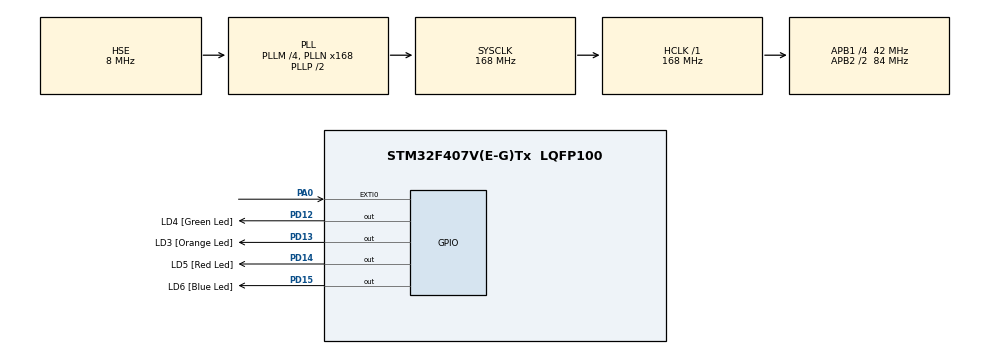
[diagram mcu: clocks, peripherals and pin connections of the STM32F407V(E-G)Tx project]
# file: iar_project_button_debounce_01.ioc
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Mcu.Family=STM32F4
Mcu.Name=STM32F407V(E-G)Tx
Mcu.Package=LQFP100
NVIC.EXTI0_IRQn=true\:0\:0\:false\:false\:true\:true\:true
NVIC.PriorityGroup=NVIC_PRIORITYGROUP_0
NVIC.RCC_IRQn=true\:0\:0\:false\:false\:true\:true\:false
NVIC.TIM2_IRQn=true\:0\:0\:false\:false\:true\:true\:true
PA0-WKUP.GPIO_ModeDefaultEXTI=GPIO_MODE_IT_RISING_FALLING
PA0-WKUP.GPIO_PuPd=GPIO_NOPULL
PA0-WKUP.Signal=GPXTI0
PA13.GPIO_Label=SWDIO
PA13.Mode=Serial_Wire
PA13.Signal=SYS_JTMS-SWDIO
PA14.GPIO_Label=SWCLK
PA14.Mode=Serial_Wire
PA14.Signal=SYS_JTCK-SWCLK
PC14-OSC32_IN.GPIO_Label=PC14-OSC32_IN
PC14-OSC32_IN.Mode=LSE-External-Oscillator
PC14-OSC32_IN.Signal=RCC_OSC32_IN
PC15-OSC32_OUT.GPIO_Label=PC15-OSC32_OUT
PC15-OSC32_OUT.Mode=LSE-External-Oscillator
PC15-OSC32_OUT.Signal=RCC_OSC32_OUT
PD12.GPIO_Label=LD4 [Green Led]
PD12.GPIO_PuPd=GPIO_NOPULL
PD12.GPIO_Speed=GPIO_SPEED_FREQ_LOW
PD12.Signal=GPIO_Output
PD13.GPIO_Label=LD3 [Orange Led]
PD13.GPIO_PuPd=GPIO_NOPULL
PD13.GPIO_Speed=GPIO_SPEED_FREQ_LOW
PD13.Signal=GPIO_Output
PD14.GPIO_Label=LD5 [Red Led]
PD14.GPIO_PuPd=GPIO_NOPULL
PD14.GPIO_Speed=GPIO_SPEED_FREQ_LOW
PD14.Signal=GPIO_Output
PD15.GPIO_Label=LD6 [Blue Led]
PD15.GPIO_PuPd=GPIO_NOPULL
PD15.GPIO_Speed=GPIO_SPEED_FREQ_LOW
PD15.Signal=GPIO_Output
PH0-OSC_IN.Mode=HSE-External-Oscillator
PH0-OSC_IN.Signal=RCC_OSC_IN
PH1-OSC_OUT.Mode=HSE-External-Oscillator
PH1-OSC_OUT.Signal=RCC_OSC_OUT
ProjectManager.HeapSize=0x200
ProjectManager.StackSize=0x400
ProjectManager.TargetToolchain=EWARM V8.32
RCC.48MHZClocksFreq_Value=48000000
RCC.AHBFreq_Value=168000000
RCC.APB1CLKDivider=RCC_HCLK_DIV4
RCC.APB1Freq_Value=42000000
RCC.APB1TimFreq_Value=84000000
RCC.APB2CLKDivider=RCC_HCLK_DIV2
RCC.APB2Freq_Value=84000000
RCC.APB2TimFreq_Value=168000000
RCC.CortexFreq_Value=168000000
RCC.HCLKFreq_Value=168000000
RCC.HSE_VALUE=8000000
RCC.HSI_VALUE=16000000
RCC.PLLM=4
RCC.PLLN=168
RCC.PLLQ=7
RCC.PLLSourceVirtual=RCC_PLLSOURCE_HSE
RCC.SYSCLKFreq_VALUE=168000000
RCC.SYSCLKSource=RCC_SYSCLKSOURCE_PLLCLK
RCC.VCOOutputFreq_Value=336000000
TIM2.AutoReloadPreload=TIM_AUTORELOAD_PRELOAD_ENABLE
TIM2.Period=16800
TIM2.Prescaler=10
VP_TIM2_VS_ClockSourceINT.Mode=Internal
board=STM32F407G-DISC1

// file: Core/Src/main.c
/* USER CODE BEGIN Header */
/**
  ******************************************************************************
  * @file           : main.c
  * @brief          : Main program body
  ******************************************************************************
  * @attention
  *
  * <h2><center>&copy; Copyright (c) 2023 STMicroelectronics.
  * All rights reserved.</center></h2>
  *
  * This software component is licensed by ST under Ultimate Liberty license
  * SLA0044, the "License"; You may not use this file except in compliance with
  * the License. You may obtain a copy of the License at:
  *                             www.st.com/SLA0044
  *
  ******************************************************************************
  */
/* USER CODE END Header */
#include "main.h"
#include "tim.h"
#include "gpio.h"

/* USER CODE BEGIN Includes */
#include "usr_general.h"
uint8_t buttonPressedOkFlag = 0;
uint8_t pressedOccuredFlag = 0;
uint8_t buttonPressedTimeCount = 0;

uint8_t count1 = 0;
uint8_t count2 = 0;

/* USER CODE END Includes */

void SystemClock_Config(void);

int main(void)
{

  /* MCU Configuration--------------------------------------------------------*/

  /* Reset of all peripherals, Initializes the Flash interface and the Systick. */
  HAL_Init();

  /* Configure the system clock */
  SystemClock_Config();

  /* Initialize all configured peripherals */
  MX_GPIO_Init();
  MX_TIM2_Init();
  /* USER CODE BEGIN 2 */
  HAL_TIM_Base_Start_IT(&htim2);

  /* USER CODE END 2 */

  /* Infinite loop */
  while (1)
  {

    /* USER CODE BEGIN 3 */
    if(buttonPressedOkFlag == 1)
    {
      count1 += 1;
      if(count1 > 2)
      {
        count1 = 1;
      }
      buttonPressedOkFlag = 0;
    }

    if(count1 == 0)
    {
      HAL_GPIO_WritePin(GPIOD, GPIO_PIN_12 | GPIO_PIN_13 | GPIO_PIN_14 | GPIO_PIN_15, GPIO_PIN_SET);
    }

    if(count1 % 2)
    {
      HAL_GPIO_WritePin(GPIOD, GPIO_PIN_13 | GPIO_PIN_15, GPIO_PIN_SET);
      HAL_GPIO_WritePin(GPIOD, GPIO_PIN_12 | GPIO_PIN_14, GPIO_PIN_RESET);
    }

    else
    {
      HAL_GPIO_WritePin(GPIOD, GPIO_PIN_12 | GPIO_PIN_14, GPIO_PIN_SET);
      HAL_GPIO_WritePin(GPIOD, GPIO_PIN_13 | GPIO_PIN_15, GPIO_PIN_RESET);
    }

  }
  /* USER CODE END 3 */
}

void SystemClock_Config(void)
{
  RCC_OscInitTypeDef RCC_OscInitStruct = {0};
  RCC_ClkInitTypeDef RCC_ClkInitStruct = {0};

  /** Configure the main internal regulator output voltage
  */
  __HAL_RCC_PWR_CLK_ENABLE();
  __HAL_PWR_VOLTAGESCALING_CONFIG(PWR_REGULATOR_VOLTAGE_SCALE1);
  /** Initializes the RCC Oscillators according to the specified parameters
  * in the RCC_OscInitTypeDef structure.
  */
  RCC_OscInitStruct.OscillatorType = RCC_OSCILLATORTYPE_HSE;
  RCC_OscInitStruct.HSEState = RCC_HSE_ON;
  RCC_OscInitStruct.PLL.PLLState = RCC_PLL_ON;
  RCC_OscInitStruct.PLL.PLLSource = RCC_PLLSOURCE_HSE;
  RCC_OscInitStruct.PLL.PLLM = 4;
  RCC_OscInitStruct.PLL.PLLN = 168;
  RCC_OscInitStruct.PLL.PLLP = RCC_PLLP_DIV2;
  RCC_OscInitStruct.PLL.PLLQ = 7;
  if (HAL_RCC_OscConfig(&RCC_OscInitStruct) != HAL_OK)
  {
    Error_Handler();
  }
  /** Initializes the CPU, AHB and APB buses clocks
  */
  RCC_ClkInitStruct.ClockType = RCC_CLOCKTYPE_HCLK|RCC_CLOCKTYPE_SYSCLK
                              |RCC_CLOCKTYPE_PCLK1|RCC_CLOCKTYPE_PCLK2;
  RCC_ClkInitStruct.SYSCLKSource = RCC_SYSCLKSOURCE_PLLCLK;
  RCC_ClkInitStruct.AHBCLKDivider = RCC_SYSCLK_DIV1;
  RCC_ClkInitStruct.APB1CLKDivider = RCC_HCLK_DIV4;
  RCC_ClkInitStruct.APB2CLKDivider = RCC_HCLK_DIV2;

  if (HAL_RCC_ClockConfig(&RCC_ClkInitStruct, FLASH_LATENCY_5) != HAL_OK)
  {
    Error_Handler();
  }
}

void Error_Handler(void)
{
  __disable_irq();
  while (1)
  {
  }
}

/************************ (C) COPYRIGHT STMicroelectronics *****END OF FILE****/
